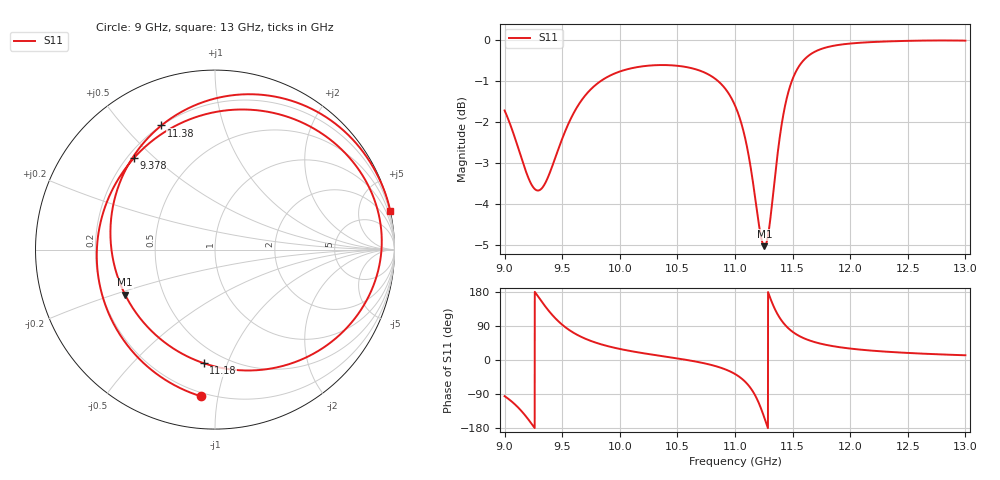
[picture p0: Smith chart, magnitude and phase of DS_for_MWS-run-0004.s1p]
! TOUCHSTONE file generated by CST DESIGN STUDIO
! Date and time: Tue Feb  4 18:27:23 2025
! Project name: C:\Work\MatlabApps\UnitCellOptimizationMatlab\CST\unitcell.cst
! Tree item: Tasks\Sweep1\SPara1\S-Parameters
! Header version: 2024
! Port assignment regex: !\s*Touchstone port\s*([0-9]+)\s*=\s*(CST MWS port|CST DES external port|CST DES block port)\s*(.+)\s* \(\"(.*)\"\)(\s*mode\s*([0-9]+))?.*
! Touchstone port assignment:
! Touchstone port 1 = CST DES external port 1 ("")
# GHz S MA R 50
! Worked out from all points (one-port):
!   4001 points, 9 GHz to 13 GHz, reference 50 ohm
!   lowest |S11| = -5.0 dB at 11.26 GHz (marker M1), VSWR 3.55, Z = 14.8 - j10.8 ohm
!   |S11| at or under -10 dB: nowhere
!   S11 on the Smith chart (normalised r, x): 9 GHz: 0.18, -0.89; 9.378 GHz: 0.23, +0.43; 11.18 GHz: 0.39, -0.83; 11.38 GHz: 0.20, +0.64; 13 GHz: 0.02, +9.17
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9  0.8211 -95.4
9.111  0.7441 -123.3
9.222  0.6713 -163.3
9.296  0.6555 165.2
9.378  0.6811 131.7
9.437  0.7168 111.1
9.5  0.7583 93.1
9.609  0.8197 70.0
9.719  0.8628 53.8
9.846  0.8943 40.6
10  0.9163 29.2
10.5  0.9312 4.1
10.814  0.9008 -14.7
11  0.8328 -36.9
11.093  0.754 -58.8
11.179  0.636 -95.7
11.217  0.5841 -121.1
11.256  0.5603 -153.4
11.285  0.5757 -179.0
11.314  0.6174 157.1
11.384  0.7535 113.3
11.435  0.8326 92.4
11.5  0.8971 74.4
11.585  0.9421 59.2
11.688  0.968 47.6
12  0.9914 30.2
12.5  0.999 18.6
13  0.9996 12.5
